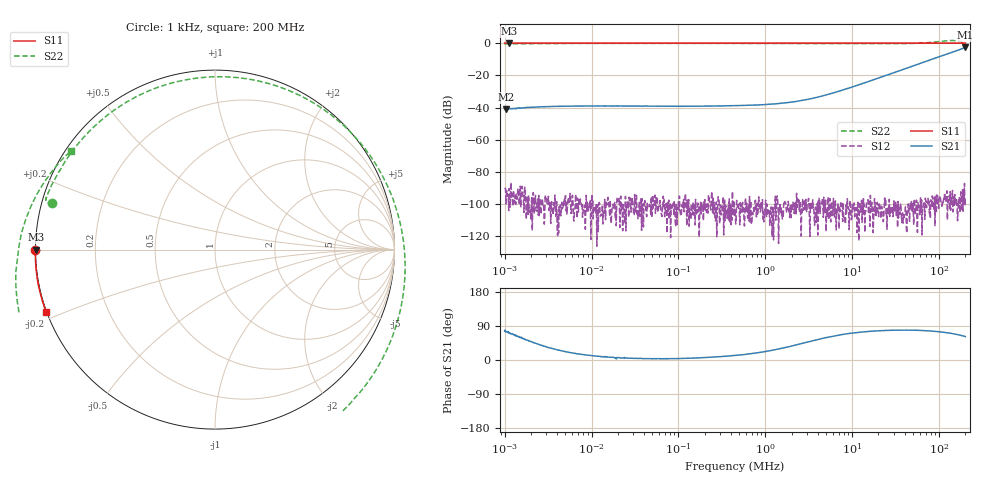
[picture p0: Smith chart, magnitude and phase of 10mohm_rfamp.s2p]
! ListType=Log
# MHZ S RI R 50
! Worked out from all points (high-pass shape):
!   1000 points, 1 kHz to 200 MHz, reference 50 ohm
!   highest |S21| = -2.59 dB at 200 MHz (marker M1); lowest = -41.1 dB at 1.037 kHz (marker M2)
!   |S21| within 3 dB of the highest: 142.2 MHz to end of sweep
!   lowest |S11| = 0.0 dB at 1.116 kHz (marker M3)
!   |S11| at or under -10 dB: nowhere
!   |S22| runs from -0.5 to 1.7 dB; largest |S21 - S12| = 0.74
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0.001  -1 0.000354  0.00206 0.00871  -1.15e-05 -2.99e-05  -0.9089 0.26
0.0010373  -0.9997 -0.000317  0.00231 0.00846  -8.5e-06 -5.6e-06  -0.9098 0.2599
0.0011162  -0.9987 0.00029  0.00301 0.00877  -5.6e-06 3e-06  -0.9121 0.2584
0.0076941  -0.9999 -0.000116  0.0108 0.00283  -2.1e-06 8.4e-06  -0.9422 0.2759
0.0584804  -0.9996 -8.17e-05  0.011 0.000679  1.1e-06 -7.5e-06  -0.9406 0.2882
0.4499541  -0.9998 -0.000942  0.0112 0.0024  1.8e-06 7.1e-06  -0.9349 0.303
1.56464  -1 -0.00317  0.0117 0.00705  2.7e-06 -2.2e-06  -0.9183 0.3407
3.419952  -1 -0.00663  0.0122 0.0147  -1.8e-06 -7.2e-06  -0.8867 0.4028
12.03851  -1.001 -0.0227  0.0149 0.0494  -7.5e-06 -3e-07  -0.7122 0.6466
26.31347  -1 -0.0486  0.0217 0.1043  3.6e-06 -3.5e-06  -0.3118 0.9064
38.43037  -0.9996 -0.0706  0.0293 0.1495  1.2e-06 -2.3e-06  0.0882 0.9611
50.9003  -0.9982 -0.093  0.0393 0.1952  -1e-07 -2.3e-06  0.4925 0.8486
64.99008  -0.9959 -0.1181  0.0531 0.2457  6e-06 -3.9e-06  0.8567 0.5339
81.97236  -0.9924 -0.1481  0.0739 0.305  5.3e-06 -7.1e-06  1.057 -0.0223
92.62555  -0.9895 -0.1667  0.0895 0.3407  -3.4e-06 -4.1e-06  1.016 -0.4025
103.3922  -0.9862 -0.1854  0.1066 0.3754  -9.6e-06 -1.12e-05  0.8402 -0.7545
116.8291  -0.9818 -0.2087  0.1302 0.4172  1.25e-05 -4.9e-06  0.4616 -1.075
128.8255  -0.977 -0.2291  0.1536 0.4527  -1.25e-05 -1.01e-05  0.0311 -1.195
145.5678  -0.9698 -0.2574  0.1889 0.5009  5.8e-06 -1.22e-05  -0.5687 -1.06
164.4859  -0.9605 -0.2891  0.2375 0.5531  4.6e-06 -3.3e-06  -1.028 -0.5582
179.1732  -0.9528 -0.3157  0.2805 0.5979  -1.87e-05 -8.8e-06  -1.102 -0.0581
200  -0.94 -0.3474  0.3491 0.6547  -1.29e-05 -6.6e-06  -0.8026 0.5506
